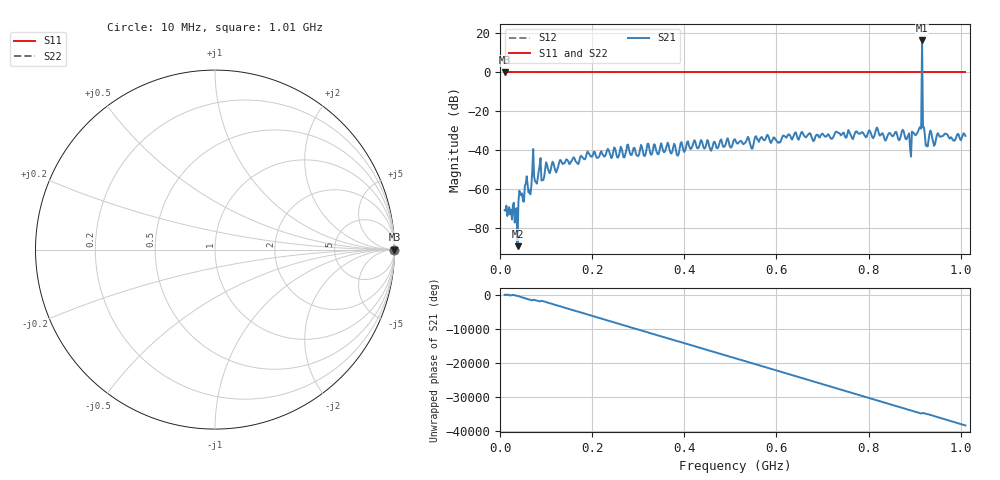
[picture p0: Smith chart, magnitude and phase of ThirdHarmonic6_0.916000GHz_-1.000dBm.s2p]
! 8/16/2025 5:57:22 AM
! C:\ANRITSUVNA\TEMP\TEMP.S2P
! CHANNEL.1
! TR.MEASUREMENT
! RAW.DATA
! RF.CORRECTION.OFF
! AVERAGING.OFF
! IF.BANDWIDTH: 5KHZ
! SWEEPTYPE:  FREQ.SWEEP(Linear)
! Reference Plane Port Info
! PORT:  PORT1  PORT2
! DISTANCE:  0  m  0  m
! TIME:  0  s  0  s
! PHASE.OFFSET:  0  deg.  0  deg.
! LOSS:  0  dB  0  dB
! REF.LOSS:  0  dB  0  dB
! REF.FREQ:  0  Hz  0  Hz
! Power Info
! POWER:  -20  dBm  -20  dBm
! EFF.POWER:  -20  dBm  -20  dBm
! SOURCE.ATTEN:  0  dB  0  dB
! TEST.ATTEN:  0  dB  0  dB
# GHZ S RI R 50.0
! FREQ.GHZ  S11RE  S11IM  S21RE  S21IM  S12RE  S12IM  S22RE  S22IM
!; PortSelection: Port_12
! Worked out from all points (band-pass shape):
!   501 points, 10 MHz to 1.01 GHz, reference 50 ohm
!   highest |S21| = 16.29 dB at 916 MHz (marker M1); lowest = -89.5 dB at 38 MHz (marker M2)
!   |S21| within 3 dB of the highest: 915.868 MHz to 916.1345 MHz (266.5 kHz wide, 0.0291 % of centre)
!   lowest |S11| = 0.0 dB at 10 MHz (marker M3)
!   |S11| at or under -10 dB: nowhere
!   |S22| runs from 0.0 to 0.0 dB; largest |S21 - S12| = 6.1
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0.01  1 0  3.33e-05 0.00028  1 0  1 0
0.038  1 0  -2.73e-05 1.91e-05  1 0  1 0
0.058  1 0  0.00205 0.000388  1 0  1 0
0.064  1 0  -0.000437 0.000839  1 0  1 0
0.074  1 0  0.00119 0.00171  1 0  1 0
0.078  1 0  -0.000577 -0.00138  1 0  1 0
0.086  1 0  0.0024 -0.00306  1 0  1 0
0.094  1 0  0.00167 -9.34e-05  1 0  1 0
0.102  1 0  0.00409 0.000813  1 0  1 0
0.178  1 0  -0.00657 0.000296  1 0  1 0
0.344  1 0  0.00702 -0.00311  1 0  1 0
0.51  1 0  -0.0113 0.0149  1 0  1 0
0.678  1 0  -0.0188 -0.00104  1 0  1 0
0.844  1 0  0.0245 -0.0111  1 0  1 0
0.874  1 0  -0.0304 -0.0124  1 0  1 0
0.888  1 0  0.0266 0.00301  1 0  1 0
0.91  1 0  -0.0356 -0.00714  1 0  1 0
0.912  1 0  -0.00771 0.0384  1 0  1 0
0.916  1 0  3.221 5.672  1 0  1 0
0.92  1 0  -0.00408 0.0383  1 0  1 0
0.922  1 0  0.0245 -0.000247  1 0  1 0
1.01  1 0  0.000824 0.0228  1 0  1 0
